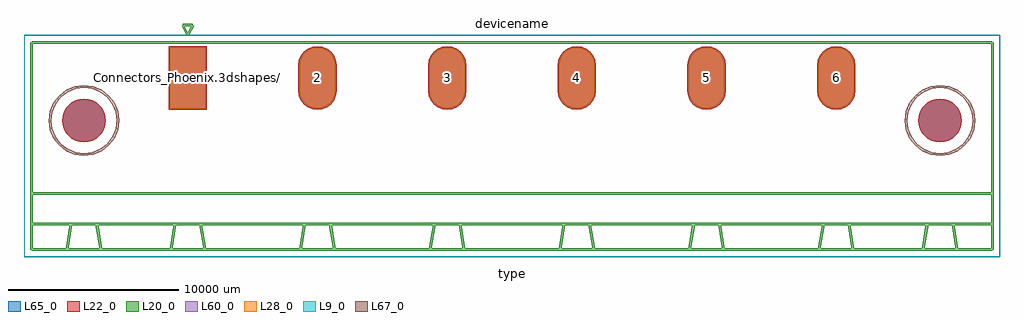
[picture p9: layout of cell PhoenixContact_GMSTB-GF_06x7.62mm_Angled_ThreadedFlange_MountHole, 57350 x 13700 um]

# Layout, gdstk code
import gdstk
lib = gdstk.Library(unit=1e-6, precision=1e-09)
def R(c, l, rs):  # rectangles x0, y0, x1, y1
    for r in rs: c.add(gdstk.rectangle(r[:2], r[2:], *l))
def P(c, l, *ps):  # polygons
    for p in ps: c.add(gdstk.Polygon(p, *l))
L9_0 = (9, 0)
L20_0 = (20, 0)
L22_0 = (22, 0)
L28_0 = (28, 0)
L60_0 = (60, 0)
L65_0 = (65, 0)
L67_0 = (67, 0)

phoenixcontact_gmstb_gf_ = lib.new_cell('PhoenixContact_GMSTB-GF_06x7.62mm_Angled_ThreadedFlange_MountHole')
R(phoenixcontact_gmstb_gf_, L22_0, [(-1125,-1875,1125,1875)])
P(phoenixcontact_gmstb_gf_, L22_0, [(45475,-2500),(45450.501,-2251.26),(45377.946,-2012.079),(45260.124,-1791.648),(45101.561,-1598.439),(44908.352,-1439.876),(44687.921,-1322.054),(44448.74,-1249.499),(44200,-1225),(43951.26,-1249.499),(43712.079,-1322.054),(43491.648,-1439.876),(43298.439,-1598.439),(43139.876,-1791.648),(43022.054,-2012.079),(42949.499,-2251.26),(42925,-2500),(42949.499,-2748.74),(43022.054,-2987.921),(43139.876,-3208.352),(43298.439,-3401.561),(43491.648,-3560.124),(43712.079,-3677.946),(43951.26,-3750.501),(44200,-3775),(44448.74,-3750.501),(44687.921,-3677.946),(44908.352,-3560.124),(45101.561,-3401.561),(45260.124,-3208.352),(45377.946,-2987.921),(45450.501,-2748.74)],
  [(-4825,-2500),(-4849.499,-2251.26),(-4922.054,-2012.079),(-5039.876,-1791.648),(-5198.439,-1598.439),(-5391.648,-1439.876),(-5612.079,-1322.054),(-5851.26,-1249.499),(-6100,-1225),(-6348.74,-1249.499),(-6587.921,-1322.054),(-6808.352,-1439.876),(-7001.561,-1598.439),(-7160.124,-1791.648),(-7277.946,-2012.079),(-7350.501,-2251.26),(-7375,-2500),(-7350.501,-2748.74),(-7277.946,-2987.921),(-7160.124,-3208.352),(-7001.561,-3401.561),(-6808.352,-3560.124),(-6587.921,-3677.946),(-6348.74,-3750.501),(-6100,-3775),(-5851.26,-3750.501),(-5612.079,-3677.946),(-5391.648,-3560.124),(-5198.439,-3401.561),(-5039.876,-3208.352),(-4922.054,-2987.921),(-4849.499,-2748.74)],
  [(38100,-1875),(38391.171,-1836.667),(38662.5,-1724.279),(38895.495,-1545.495),(39074.279,-1312.5),(39186.667,-1041.171),(39225,-750),(39225,750),(39186.667,1041.171),(39074.279,1312.5),(38895.495,1545.495),(38662.5,1724.279),(38391.171,1836.667),(38100,1875),(37808.829,1836.667),(37537.5,1724.279),(37304.505,1545.495),(37125.721,1312.5),(37013.333,1041.171),(36975,750),(36975,-750),(37013.333,-1041.171),(37125.721,-1312.5),(37304.505,-1545.495),(37537.5,-1724.279),(37808.829,-1836.667)],
  [(30480,-1875),(30771.171,-1836.667),(31042.5,-1724.279),(31275.495,-1545.495),(31454.279,-1312.5),(31566.667,-1041.171),(31605,-750),(31605,750),(31566.667,1041.171),(31454.279,1312.5),(31275.495,1545.495),(31042.5,1724.279),(30771.171,1836.667),(30480,1875),(30188.829,1836.667),(29917.5,1724.279),(29684.505,1545.495),(29505.721,1312.5),(29393.333,1041.171),(29355,750),(29355,-750),(29393.333,-1041.171),(29505.721,-1312.5),(29684.505,-1545.495),(29917.5,-1724.279),(30188.829,-1836.667)],
  [(22860,-1875),(23151.171,-1836.667),(23422.5,-1724.279),(23655.495,-1545.495),(23834.279,-1312.5),(23946.667,-1041.171),(23985,-750),(23985,750),(23946.667,1041.171),(23834.279,1312.5),(23655.495,1545.495),(23422.5,1724.279),(23151.171,1836.667),(22860,1875),(22568.829,1836.667),(22297.5,1724.279),(22064.505,1545.495),(21885.721,1312.5),(21773.333,1041.171),(21735,750),(21735,-750),(21773.333,-1041.171),(21885.721,-1312.5),(22064.505,-1545.495),(22297.5,-1724.279),(22568.829,-1836.667)],
  [(15240,-1875),(15531.171,-1836.667),(15802.5,-1724.279),(16035.495,-1545.495),(16214.279,-1312.5),(16326.667,-1041.171),(16365,-750),(16365,750),(16326.667,1041.171),(16214.279,1312.5),(16035.495,1545.495),(15802.5,1724.279),(15531.171,1836.667),(15240,1875),(14948.829,1836.667),(14677.5,1724.279),(14444.505,1545.495),(14265.721,1312.5),(14153.333,1041.171),(14115,750),(14115,-750),(14153.333,-1041.171),(14265.721,-1312.5),(14444.505,-1545.495),(14677.5,-1724.279),(14948.829,-1836.667)],
  [(7620,-1875),(7911.171,-1836.667),(8182.5,-1724.279),(8415.495,-1545.495),(8594.279,-1312.5),(8706.667,-1041.171),(8745,-750),(8745,750),(8706.667,1041.171),(8594.279,1312.5),(8415.495,1545.495),(8182.5,1724.279),(7911.171,1836.667),(7620,1875),(7328.829,1836.667),(7057.5,1724.279),(6824.505,1545.495),(6645.721,1312.5),(6533.333,1041.171),(6495,750),(6495,-750),(6533.333,-1041.171),(6645.721,-1312.5),(6824.505,-1545.495),(7057.5,-1724.279),(7328.829,-1836.667)])
R(phoenixcontact_gmstb_gf_, L28_0, [(-1050,-1800,1050,1800)])
P(phoenixcontact_gmstb_gf_, L28_0, [(38100,-1800),(38371.76,-1764.222),(38625,-1659.327),(38842.462,-1492.462),(39009.327,-1275),(39114.222,-1021.76),(39150,-750),(39150,750),(39114.222,1021.76),(39009.327,1275),(38842.462,1492.462),(38625,1659.327),(38371.76,1764.222),(38100,1800),(37828.24,1764.222),(37575,1659.327),(37357.538,1492.462),(37190.673,1275),(37085.778,1021.76),(37050,750),(37050,-750),(37085.778,-1021.76),(37190.673,-1275),(37357.538,-1492.462),(37575,-1659.327),(37828.24,-1764.222)],
  [(30480,-1800),(30751.76,-1764.222),(31005,-1659.327),(31222.462,-1492.462),(31389.327,-1275),(31494.222,-1021.76),(31530,-750),(31530,750),(31494.222,1021.76),(31389.327,1275),(31222.462,1492.462),(31005,1659.327),(30751.76,1764.222),(30480,1800),(30208.24,1764.222),(29955,1659.327),(29737.538,1492.462),(29570.673,1275),(29465.778,1021.76),(29430,750),(29430,-750),(29465.778,-1021.76),(29570.673,-1275),(29737.538,-1492.462),(29955,-1659.327),(30208.24,-1764.222)],
  [(22860,-1800),(23131.76,-1764.222),(23385,-1659.327),(23602.462,-1492.462),(23769.327,-1275),(23874.222,-1021.76),(23910,-750),(23910,750),(23874.222,1021.76),(23769.327,1275),(23602.462,1492.462),(23385,1659.327),(23131.76,1764.222),(22860,1800),(22588.24,1764.222),(22335,1659.327),(22117.538,1492.462),(21950.673,1275),(21845.778,1021.76),(21810,750),(21810,-750),(21845.778,-1021.76),(21950.673,-1275),(22117.538,-1492.462),(22335,-1659.327),(22588.24,-1764.222)],
  [(15240,-1800),(15511.76,-1764.222),(15765,-1659.327),(15982.462,-1492.462),(16149.327,-1275),(16254.222,-1021.76),(16290,-750),(16290,750),(16254.222,1021.76),(16149.327,1275),(15982.462,1492.462),(15765,1659.327),(15511.76,1764.222),(15240,1800),(14968.24,1764.222),(14715,1659.327),(14497.538,1492.462),(14330.673,1275),(14225.778,1021.76),(14190,750),(14190,-750),(14225.778,-1021.76),(14330.673,-1275),(14497.538,-1492.462),(14715,-1659.327),(14968.24,-1764.222)],
  [(7620,-1800),(7891.76,-1764.222),(8145,-1659.327),(8362.462,-1492.462),(8529.327,-1275),(8634.222,-1021.76),(8670,-750),(8670,750),(8634.222,1021.76),(8529.327,1275),(8362.462,1492.462),(8145,1659.327),(7891.76,1764.222),(7620,1800),(7348.24,1764.222),(7095,1659.327),(6877.538,1492.462),(6710.673,1275),(6605.778,1021.76),(6570,750),(6570,-750),(6605.778,-1021.76),(6710.673,-1275),(6877.538,-1492.462),(7095,-1659.327),(7348.24,-1764.222)])
R(phoenixcontact_gmstb_gf_, L60_0, [(-1050,-1800,1050,1800)])
P(phoenixcontact_gmstb_gf_, L60_0, [(38100,-1800),(38371.76,-1764.222),(38625,-1659.327),(38842.462,-1492.462),(39009.327,-1275),(39114.222,-1021.76),(39150,-750),(39150,750),(39114.222,1021.76),(39009.327,1275),(38842.462,1492.462),(38625,1659.327),(38371.76,1764.222),(38100,1800),(37828.24,1764.222),(37575,1659.327),(37357.538,1492.462),(37190.673,1275),(37085.778,1021.76),(37050,750),(37050,-750),(37085.778,-1021.76),(37190.673,-1275),(37357.538,-1492.462),(37575,-1659.327),(37828.24,-1764.222)],
  [(30480,-1800),(30751.76,-1764.222),(31005,-1659.327),(31222.462,-1492.462),(31389.327,-1275),(31494.222,-1021.76),(31530,-750),(31530,750),(31494.222,1021.76),(31389.327,1275),(31222.462,1492.462),(31005,1659.327),(30751.76,1764.222),(30480,1800),(30208.24,1764.222),(29955,1659.327),(29737.538,1492.462),(29570.673,1275),(29465.778,1021.76),(29430,750),(29430,-750),(29465.778,-1021.76),(29570.673,-1275),(29737.538,-1492.462),(29955,-1659.327),(30208.24,-1764.222)],
  [(22860,-1800),(23131.76,-1764.222),(23385,-1659.327),(23602.462,-1492.462),(23769.327,-1275),(23874.222,-1021.76),(23910,-750),(23910,750),(23874.222,1021.76),(23769.327,1275),(23602.462,1492.462),(23385,1659.327),(23131.76,1764.222),(22860,1800),(22588.24,1764.222),(22335,1659.327),(22117.538,1492.462),(21950.673,1275),(21845.778,1021.76),(21810,750),(21810,-750),(21845.778,-1021.76),(21950.673,-1275),(22117.538,-1492.462),(22335,-1659.327),(22588.24,-1764.222)],
  [(15240,-1800),(15511.76,-1764.222),(15765,-1659.327),(15982.462,-1492.462),(16149.327,-1275),(16254.222,-1021.76),(16290,-750),(16290,750),(16254.222,1021.76),(16149.327,1275),(15982.462,1492.462),(15765,1659.327),(15511.76,1764.222),(15240,1800),(14968.24,1764.222),(14715,1659.327),(14497.538,1492.462),(14330.673,1275),(14225.778,1021.76),(14190,750),(14190,-750),(14225.778,-1021.76),(14330.673,-1275),(14497.538,-1492.462),(14715,-1659.327),(14968.24,-1764.222)],
  [(7620,-1800),(7891.76,-1764.222),(8145,-1659.327),(8362.462,-1492.462),(8529.327,-1275),(8634.222,-1021.76),(8670,-750),(8670,750),(8634.222,1021.76),(8529.327,1275),(8362.462,1492.462),(8145,1659.327),(7891.76,1764.222),(7620,1800),(7348.24,1764.222),(7095,1659.327),(6877.538,1492.462),(6710.673,1275),(6605.778,1021.76),(6570,750),(6570,-750),(6605.778,-1021.76),(6710.673,-1275),(6877.538,-1492.462),(7095,-1659.327),(7348.24,-1764.222)])
R(phoenixcontact_gmstb_gf_, L65_0, [(-1125,-1875,1125,1875)])
P(phoenixcontact_gmstb_gf_, L65_0, [(45475,-2500),(45450.501,-2251.26),(45377.946,-2012.079),(45260.124,-1791.648),(45101.561,-1598.439),(44908.352,-1439.876),(44687.921,-1322.054),(44448.74,-1249.499),(44200,-1225),(43951.26,-1249.499),(43712.079,-1322.054),(43491.648,-1439.876),(43298.439,-1598.439),(43139.876,-1791.648),(43022.054,-2012.079),(42949.499,-2251.26),(42925,-2500),(42949.499,-2748.74),(43022.054,-2987.921),(43139.876,-3208.352),(43298.439,-3401.561),(43491.648,-3560.124),(43712.079,-3677.946),(43951.26,-3750.501),(44200,-3775),(44448.74,-3750.501),(44687.921,-3677.946),(44908.352,-3560.124),(45101.561,-3401.561),(45260.124,-3208.352),(45377.946,-2987.921),(45450.501,-2748.74)],
  [(-4825,-2500),(-4849.499,-2251.26),(-4922.054,-2012.079),(-5039.876,-1791.648),(-5198.439,-1598.439),(-5391.648,-1439.876),(-5612.079,-1322.054),(-5851.26,-1249.499),(-6100,-1225),(-6348.74,-1249.499),(-6587.921,-1322.054),(-6808.352,-1439.876),(-7001.561,-1598.439),(-7160.124,-1791.648),(-7277.946,-2012.079),(-7350.501,-2251.26),(-7375,-2500),(-7350.501,-2748.74),(-7277.946,-2987.921),(-7160.124,-3208.352),(-7001.561,-3401.561),(-6808.352,-3560.124),(-6587.921,-3677.946),(-6348.74,-3750.501),(-6100,-3775),(-5851.26,-3750.501),(-5612.079,-3677.946),(-5391.648,-3560.124),(-5198.439,-3401.561),(-5039.876,-3208.352),(-4922.054,-2987.921),(-4849.499,-2748.74)],
  [(38100,-1875),(38391.171,-1836.667),(38662.5,-1724.279),(38895.495,-1545.495),(39074.279,-1312.5),(39186.667,-1041.171),(39225,-750),(39225,750),(39186.667,1041.171),(39074.279,1312.5),(38895.495,1545.495),(38662.5,1724.279),(38391.171,1836.667),(38100,1875),(37808.829,1836.667),(37537.5,1724.279),(37304.505,1545.495),(37125.721,1312.5),(37013.333,1041.171),(36975,750),(36975,-750),(37013.333,-1041.171),(37125.721,-1312.5),(37304.505,-1545.495),(37537.5,-1724.279),(37808.829,-1836.667)],
  [(30480,-1875),(30771.171,-1836.667),(31042.5,-1724.279),(31275.495,-1545.495),(31454.279,-1312.5),(31566.667,-1041.171),(31605,-750),(31605,750),(31566.667,1041.171),(31454.279,1312.5),(31275.495,1545.495),(31042.5,1724.279),(30771.171,1836.667),(30480,1875),(30188.829,1836.667),(29917.5,1724.279),(29684.505,1545.495),(29505.721,1312.5),(29393.333,1041.171),(29355,750),(29355,-750),(29393.333,-1041.171),(29505.721,-1312.5),(29684.505,-1545.495),(29917.5,-1724.279),(30188.829,-1836.667)],
  [(22860,-1875),(23151.171,-1836.667),(23422.5,-1724.279),(23655.495,-1545.495),(23834.279,-1312.5),(23946.667,-1041.171),(23985,-750),(23985,750),(23946.667,1041.171),(23834.279,1312.5),(23655.495,1545.495),(23422.5,1724.279),(23151.171,1836.667),(22860,1875),(22568.829,1836.667),(22297.5,1724.279),(22064.505,1545.495),(21885.721,1312.5),(21773.333,1041.171),(21735,750),(21735,-750),(21773.333,-1041.171),(21885.721,-1312.5),(22064.505,-1545.495),(22297.5,-1724.279),(22568.829,-1836.667)],
  [(15240,-1875),(15531.171,-1836.667),(15802.5,-1724.279),(16035.495,-1545.495),(16214.279,-1312.5),(16326.667,-1041.171),(16365,-750),(16365,750),(16326.667,1041.171),(16214.279,1312.5),(16035.495,1545.495),(15802.5,1724.279),(15531.171,1836.667),(15240,1875),(14948.829,1836.667),(14677.5,1724.279),(14444.505,1545.495),(14265.721,1312.5),(14153.333,1041.171),(14115,750),(14115,-750),(14153.333,-1041.171),(14265.721,-1312.5),(14444.505,-1545.495),(14677.5,-1724.279),(14948.829,-1836.667)],
  [(7620,-1875),(7911.171,-1836.667),(8182.5,-1724.279),(8415.495,-1545.495),(8594.279,-1312.5),(8706.667,-1041.171),(8745,-750),(8745,750),(8706.667,1041.171),(8594.279,1312.5),(8415.495,1545.495),(8182.5,1724.279),(7911.171,1836.667),(7620,1875),(7328.829,1836.667),(7057.5,1724.279),(6824.505,1545.495),(6645.721,1312.5),(6533.333,1041.171),(6495,750),(6495,-750),(6533.333,-1041.171),(6645.721,-1312.5),(6824.505,-1545.495),(7057.5,-1724.279),(7328.829,-1836.667)])
phoenixcontact_gmstb_gf_.add(gdstk.FlexPath([(-300,3100),(0,2500)], 149.998, ends="flush", simple_path=True, layer=20, datatype=0))  # L20_0
phoenixcontact_gmstb_gf_.add(gdstk.FlexPath([(300,3100),(-300,3100)], 149.998, ends="flush", simple_path=True, layer=20, datatype=0))  # L20_0
phoenixcontact_gmstb_gf_.add(gdstk.FlexPath([(0,2500),(300,3100)], 149.998, ends="flush", simple_path=True, layer=20, datatype=0))  # L20_0
phoenixcontact_gmstb_gf_.add(gdstk.FlexPath([(47700,2500),(-9600,2500)], 50, ends="flush", simple_path=True, layer=9, datatype=0))  # L9_0
phoenixcontact_gmstb_gf_.add(gdstk.FlexPath([(47700,-10500),(47700,2500)], 50, ends="flush", simple_path=True, layer=9, datatype=0))  # L9_0
phoenixcontact_gmstb_gf_.add(gdstk.FlexPath([(-9600,-10500),(47700,-10500)], 50, ends="flush", simple_path=True, layer=9, datatype=0))  # L9_0
phoenixcontact_gmstb_gf_.add(gdstk.FlexPath([(-9600,2500),(-9600,-10500)], 50, ends="flush", simple_path=True, layer=9, datatype=0))  # L9_0
phoenixcontact_gmstb_gf_.add(gdstk.FlexPath([(37350,-8580),(37100,-10080)], 149.998, ends="flush", simple_path=True, layer=20, datatype=0))  # L20_0
phoenixcontact_gmstb_gf_.add(gdstk.FlexPath([(38850,-8580),(37350,-8580)], 149.998, ends="flush", simple_path=True, layer=20, datatype=0))  # L20_0
phoenixcontact_gmstb_gf_.add(gdstk.FlexPath([(39100,-10080),(38850,-8580)], 149.998, ends="flush", simple_path=True, layer=20, datatype=0))  # L20_0
phoenixcontact_gmstb_gf_.add(gdstk.FlexPath([(37100,-10080),(39100,-10080)], 149.998, ends="flush", simple_path=True, layer=20, datatype=0))  # L20_0
phoenixcontact_gmstb_gf_.add(gdstk.FlexPath([(29730,-8580),(29480,-10080)], 149.998, ends="flush", simple_path=True, layer=20, datatype=0))  # L20_0
phoenixcontact_gmstb_gf_.add(gdstk.FlexPath([(31230,-8580),(29730,-8580)], 149.998, ends="flush", simple_path=True, layer=20, datatype=0))  # L20_0
phoenixcontact_gmstb_gf_.add(gdstk.FlexPath([(31480,-10080),(31230,-8580)], 149.998, ends="flush", simple_path=True, layer=20, datatype=0))  # L20_0
phoenixcontact_gmstb_gf_.add(gdstk.FlexPath([(29480,-10080),(31480,-10080)], 149.998, ends="flush", simple_path=True, layer=20, datatype=0))  # L20_0
phoenixcontact_gmstb_gf_.add(gdstk.FlexPath([(22110,-8580),(21860,-10080)], 149.998, ends="flush", simple_path=True, layer=20, datatype=0))  # L20_0
phoenixcontact_gmstb_gf_.add(gdstk.FlexPath([(23610,-8580),(22110,-8580)], 149.998, ends="flush", simple_path=True, layer=20, datatype=0))  # L20_0
phoenixcontact_gmstb_gf_.add(gdstk.FlexPath([(23860,-10080),(23610,-8580)], 149.998, ends="flush", simple_path=True, layer=20, datatype=0))  # L20_0
phoenixcontact_gmstb_gf_.add(gdstk.FlexPath([(21860,-10080),(23860,-10080)], 149.998, ends="flush", simple_path=True, layer=20, datatype=0))  # L20_0
phoenixcontact_gmstb_gf_.add(gdstk.FlexPath([(14490,-8580),(14240,-10080)], 149.998, ends="flush", simple_path=True, layer=20, datatype=0))  # L20_0
phoenixcontact_gmstb_gf_.add(gdstk.FlexPath([(15990,-8580),(14490,-8580)], 149.998, ends="flush", simple_path=True, layer=20, datatype=0))  # L20_0
phoenixcontact_gmstb_gf_.add(gdstk.FlexPath([(16240,-10080),(15990,-8580)], 149.998, ends="flush", simple_path=True, layer=20, datatype=0))  # L20_0
phoenixcontact_gmstb_gf_.add(gdstk.FlexPath([(14240,-10080),(16240,-10080)], 149.998, ends="flush", simple_path=True, layer=20, datatype=0))  # L20_0
phoenixcontact_gmstb_gf_.add(gdstk.FlexPath([(6870,-8580),(6620,-10080)], 149.998, ends="flush", simple_path=True, layer=20, datatype=0))  # L20_0
phoenixcontact_gmstb_gf_.add(gdstk.FlexPath([(8370,-8580),(6870,-8580)], 149.998, ends="flush", simple_path=True, layer=20, datatype=0))  # L20_0
phoenixcontact_gmstb_gf_.add(gdstk.FlexPath([(8620,-10080),(8370,-8580)], 149.998, ends="flush", simple_path=True, layer=20, datatype=0))  # L20_0
phoenixcontact_gmstb_gf_.add(gdstk.FlexPath([(6620,-10080),(8620,-10080)], 149.998, ends="flush", simple_path=True, layer=20, datatype=0))  # L20_0
phoenixcontact_gmstb_gf_.add(gdstk.FlexPath([(-750,-8580),(-1000,-10080)], 149.998, ends="flush", simple_path=True, layer=20, datatype=0))  # L20_0
phoenixcontact_gmstb_gf_.add(gdstk.FlexPath([(750,-8580),(-750,-8580)], 149.998, ends="flush", simple_path=True, layer=20, datatype=0))  # L20_0
phoenixcontact_gmstb_gf_.add(gdstk.FlexPath([(1000,-10080),(750,-8580)], 149.998, ends="flush", simple_path=True, layer=20, datatype=0))  # L20_0
phoenixcontact_gmstb_gf_.add(gdstk.FlexPath([(-1000,-10080),(1000,-10080)], 149.998, ends="flush", simple_path=True, layer=20, datatype=0))  # L20_0
phoenixcontact_gmstb_gf_.add(gdstk.FlexPath([(43450,-8580),(43200,-10080)], 149.998, ends="flush", simple_path=True, layer=20, datatype=0))  # L20_0
phoenixcontact_gmstb_gf_.add(gdstk.FlexPath([(44950,-8580),(43450,-8580)], 149.998, ends="flush", simple_path=True, layer=20, datatype=0))  # L20_0
phoenixcontact_gmstb_gf_.add(gdstk.FlexPath([(45200,-10080),(44950,-8580)], 149.998, ends="flush", simple_path=True, layer=20, datatype=0))  # L20_0
phoenixcontact_gmstb_gf_.add(gdstk.FlexPath([(43200,-10080),(45200,-10080)], 149.998, ends="flush", simple_path=True, layer=20, datatype=0))  # L20_0
phoenixcontact_gmstb_gf_.add(gdstk.FlexPath([(-6850,-8580),(-7100,-10080)], 149.998, ends="flush", simple_path=True, layer=20, datatype=0))  # L20_0
phoenixcontact_gmstb_gf_.add(gdstk.FlexPath([(-5350,-8580),(-6850,-8580)], 149.998, ends="flush", simple_path=True, layer=20, datatype=0))  # L20_0
phoenixcontact_gmstb_gf_.add(gdstk.FlexPath([(-5100,-10080),(-5350,-8580)], 149.998, ends="flush", simple_path=True, layer=20, datatype=0))  # L20_0
phoenixcontact_gmstb_gf_.add(gdstk.FlexPath([(-7100,-10080),(-5100,-10080)], 149.998, ends="flush", simple_path=True, layer=20, datatype=0))  # L20_0
phoenixcontact_gmstb_gf_.add(gdstk.FlexPath([(47280,-8580),(-9180,-8580)], 149.998, ends="flush", simple_path=True, layer=20, datatype=0))  # L20_0
phoenixcontact_gmstb_gf_.add(gdstk.FlexPath([(47280,-6780),(47280,-8580)], 149.998, ends="flush", simple_path=True, layer=20, datatype=0))  # L20_0
phoenixcontact_gmstb_gf_.add(gdstk.FlexPath([(-9180,-6780),(47280,-6780)], 149.998, ends="flush", simple_path=True, layer=20, datatype=0))  # L20_0
phoenixcontact_gmstb_gf_.add(gdstk.FlexPath([(-9180,-8580),(-9180,-6780)], 149.998, ends="flush", simple_path=True, layer=20, datatype=0))  # L20_0
phoenixcontact_gmstb_gf_.add(gdstk.FlexPath([(47280,2080),(-9180,2080)], 149.998, ends="flush", simple_path=True, layer=20, datatype=0))  # L20_0
phoenixcontact_gmstb_gf_.add(gdstk.FlexPath([(47280,-10080),(47280,2080)], 149.998, ends="flush", simple_path=True, layer=20, datatype=0))  # L20_0
phoenixcontact_gmstb_gf_.add(gdstk.FlexPath([(-9180,-10080),(47280,-10080)], 149.998, ends="flush", simple_path=True, layer=20, datatype=0))  # L20_0
phoenixcontact_gmstb_gf_.add(gdstk.FlexPath([(-9180,2080),(-9180,-10080)], 149.998, ends="flush", simple_path=True, layer=20, datatype=0))  # L20_0
phoenixcontact_gmstb_gf_.add(gdstk.FlexPath([(46200,-2500),(46131.852,-1982.362),(45932.051,-1500),(45614.214,-1085.786),(45200,-767.949),(44717.638,-568.148),(44200,-500),(43682.362,-568.148),(43200,-767.949),(42785.786,-1085.786),(42467.949,-1500),(42268.148,-1982.362),(42200,-2500),(42268.148,-3017.638),(42467.949,-3500),(42785.786,-3914.214),(43200,-4232.051),(43682.362,-4431.852),(44200,-4500),(44717.638,-4431.852),(45200,-4232.051),(45614.214,-3914.214),(45932.051,-3500),(46131.852,-3017.638),(46200,-2500)], 149.998, ends="flush", simple_path=True, layer=67, datatype=0))  # L67_0
phoenixcontact_gmstb_gf_.add(gdstk.FlexPath([(-4100,-2500),(-4168.148,-1982.362),(-4367.949,-1500),(-4685.786,-1085.786),(-5100,-767.949),(-5582.362,-568.148),(-6100,-500),(-6617.638,-568.148),(-7100,-767.949),(-7514.214,-1085.786),(-7832.051,-1500),(-8031.852,-1982.362),(-8100,-2500),(-8031.852,-3017.638),(-7832.051,-3500),(-7514.214,-3914.214),(-7100,-4232.051),(-6617.638,-4431.852),(-6100,-4500),(-5582.362,-4431.852),(-5100,-4232.051),(-4685.786,-3914.214),(-4367.949,-3500),(-4168.148,-3017.638),(-4100,-2500)], 149.998, ends="flush", simple_path=True, layer=67, datatype=0))  # L67_0
phoenixcontact_gmstb_gf_.add(gdstk.Label('Connectors_Phoenix.3dshapes/PhoenixContact_GMSTB-GF_06x7.62mm_Angled_ThreadedFlange_MountHole.wrl', (0,0), layer=12, texttype=0))
phoenixcontact_gmstb_gf_.add(gdstk.Label('6', (38100,0), layer=28, texttype=0))
phoenixcontact_gmstb_gf_.add(gdstk.Label('5', (30480,0), layer=28, texttype=0))
phoenixcontact_gmstb_gf_.add(gdstk.Label('4', (22860,0), layer=28, texttype=0))
phoenixcontact_gmstb_gf_.add(gdstk.Label('3', (15240,0), layer=28, texttype=0))
phoenixcontact_gmstb_gf_.add(gdstk.Label('2', (7620,0), layer=28, texttype=0))
phoenixcontact_gmstb_gf_.add(gdstk.Label('1', (0,0), layer=28, texttype=0))
phoenixcontact_gmstb_gf_.add(gdstk.Label('type', (19050,-11500), layer=9, texttype=0))
phoenixcontact_gmstb_gf_.add(gdstk.Label('devicename', (19050,3200), layer=9, texttype=0))

lib.write_gds('PhoenixContact_GMSTB-GF_06x7.62mm_Angled_ThreadedFlange_MountHole.gds')
